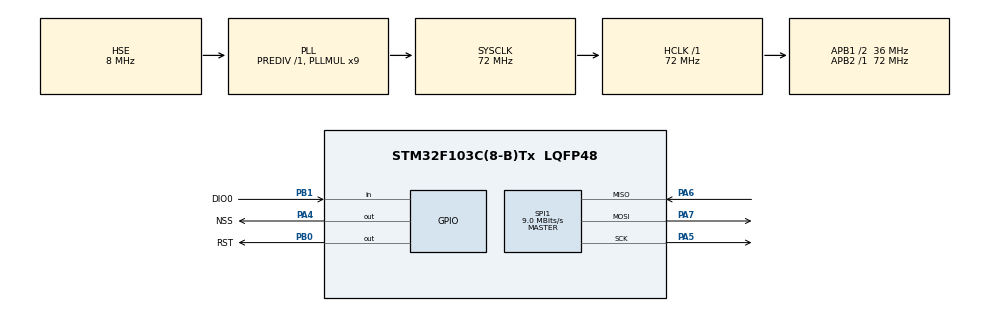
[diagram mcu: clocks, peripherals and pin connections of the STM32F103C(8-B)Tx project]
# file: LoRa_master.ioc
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Mcu.Family=STM32F1
Mcu.Name=STM32F103C(8-B)Tx
Mcu.Package=LQFP48
NVIC.PriorityGroup=NVIC_PRIORITYGROUP_4
PA13.Mode=Serial_Wire
PA13.Signal=SYS_JTMS-SWDIO
PA14.Mode=Serial_Wire
PA14.Signal=SYS_JTCK-SWCLK
PA4.GPIO_Label=NSS
PA4.Signal=GPIO_Output
PA5.Mode=Full_Duplex_Master
PA5.Signal=SPI1_SCK
PA6.Mode=Full_Duplex_Master
PA6.Signal=SPI1_MISO
PA7.Mode=Full_Duplex_Master
PA7.Signal=SPI1_MOSI
PB0.GPIO_Label=RST
PB0.Signal=GPIO_Output
PB1.GPIO_Label=DIO0
PB1.Signal=GPIO_Input
PD0-OSC_IN.Mode=HSE-External-Oscillator
PD0-OSC_IN.Signal=RCC_OSC_IN
PD1-OSC_OUT.Mode=HSE-External-Oscillator
PD1-OSC_OUT.Signal=RCC_OSC_OUT
ProjectManager.HeapSize=0x200
ProjectManager.StackSize=0x400
ProjectManager.TargetToolchain=STM32CubeIDE
RCC.AHBFreq_Value=72000000
RCC.APB1CLKDivider=RCC_HCLK_DIV2
RCC.APB1Freq_Value=36000000
RCC.APB1TimFreq_Value=72000000
RCC.APB2Freq_Value=72000000
RCC.APB2TimFreq_Value=72000000
RCC.HCLKFreq_Value=72000000
RCC.PLLMUL=RCC_PLL_MUL9
RCC.PLLSourceVirtual=RCC_PLLSOURCE_HSE
RCC.SYSCLKFreq_VALUE=72000000
RCC.SYSCLKSource=RCC_SYSCLKSOURCE_PLLCLK
RCC.USBFreq_Value=72000000
SPI1.BaudRatePrescaler=SPI_BAUDRATEPRESCALER_8
SPI1.CalculateBaudRate=9.0 MBits/s
SPI1.Direction=SPI_DIRECTION_2LINES
SPI1.Mode=SPI_MODE_MASTER
SPI1.VirtualType=VM_MASTER
board=custom

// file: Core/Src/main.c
/* USER CODE BEGIN Header */
/**
  ******************************************************************************
  * @file           : main.c
  * @brief          : Main program body
  ******************************************************************************
  * @attention
  *
  * Copyright (c) 2024 STMicroelectronics.
  * All rights reserved.
  *
  * This software is licensed under terms that can be found in the LICENSE file
  * in the root directory of this software component.
  * If no LICENSE file comes with this software, it is provided AS-IS.
  *
  ******************************************************************************
  */
/* USER CODE END Header */
#include "main.h"
#include "spi.h"
#include "gpio.h"

/* USER CODE BEGIN Includes */
#include <stdio.h>
#include "SX1278.h"
/* USER CODE END Includes */

/* USER CODE BEGIN PTD */
SX1278_hw_t SX1278_hw;
SX1278_t SX1278;

int status;

int master;
int ret;

char buffer[512];

int message;
int message_length;
/* USER CODE END PTD */

void SystemClock_Config(void);

int main(void)
{

  /* MCU Configuration--------------------------------------------------------*/

  /* Reset of all peripherals, Initializes the Flash interface and the Systick. */
  HAL_Init();

  /* Configure the system clock */
  SystemClock_Config();

  /* Initialize all configured peripherals */
  MX_GPIO_Init();
  MX_SPI1_Init();
  /* USER CODE BEGIN 2 */
  master = 1; // for master
//  master = 0; // for slave
  	if (master == 1) {
  		printf("Mode: Master\r\n");

  	} else {
  		printf("Mode: Slave\r\n");

  	}
  	status = 1;

  	//initialize LoRa module
  	SX1278_hw.dio0.port = DIO0_GPIO_Port;
  	SX1278_hw.dio0.pin = DIO0_Pin;
  	SX1278_hw.nss.port = NSS_GPIO_Port;
  	SX1278_hw.nss.pin = NSS_Pin;
  	SX1278_hw.reset.port = RST_GPIO_Port;
  	SX1278_hw.reset.pin = RST_Pin;
  	SX1278_hw.spi = &hspi1;

  	SX1278.hw = &SX1278_hw;

  	printf("Configuring LoRa module\r\n");
  	SX1278_init(&SX1278, 434000000, SX1278_POWER_17DBM, SX1278_LORA_SF_7,
  	SX1278_LORA_BW_125KHZ, SX1278_LORA_CR_4_5, SX1278_LORA_CRC_EN, 10);
  	printf("Done configuring LoRaModule\r\n");

  	status++;

  	if (master == 1) {
  		ret = SX1278_LoRaEntryTx(&SX1278, 16, 2000);

  	} else {
  		ret = SX1278_LoRaEntryRx(&SX1278, 16, 2000);

  	}
  	status++;
  /* USER CODE END 2 */

  /* Infinite loop */
  /* USER CODE BEGIN WHILE */
  	while (1) {
  			if (master == 1) {
  				printf("Master ...\r\n");
  				HAL_Delay(1000);
  				printf("Sending package...\r\n");

  				message_length = sprintf(buffer, "Hello %d", message);
  				ret = SX1278_LoRaEntryTx(&SX1278, message_length, 2000);
  				printf("Entry: %d\r\n", ret);
  				status = 4;
  				printf("Sending %s\r\n", buffer);
  				ret = SX1278_LoRaTxPacket(&SX1278, (uint8_t*) buffer,
  						message_length, 2000);
  				message += 1;
  				status = 5;
  				printf("Transmission: %d\r\n", ret);
  				printf("Package sent...\r\n");

  			} else {
  				printf("Slave ...\r\n");
  				HAL_Delay(800);
  				printf("Receiving package...\r\n");

  				ret = SX1278_LoRaRxPacket(&SX1278);
  				printf("Received: %d\r\n", ret);
  				status = 4;
  				if (ret > 0) {
  					SX1278_read(&SX1278, (uint8_t*) buffer, ret);
  					printf("Content (%d): %s\r\n", ret, buffer);
  				}
  				printf("Package received ...\r\n");
  				status = 5;

  			}

    /* USER CODE END WHILE */

  }
}

void SystemClock_Config(void)
{
  RCC_OscInitTypeDef RCC_OscInitStruct = {0};
  RCC_ClkInitTypeDef RCC_ClkInitStruct = {0};

  /** Initializes the RCC Oscillators according to the specified parameters
  * in the RCC_OscInitTypeDef structure.
  */
  RCC_OscInitStruct.OscillatorType = RCC_OSCILLATORTYPE_HSE;
  RCC_OscInitStruct.HSEState = RCC_HSE_ON;
  RCC_OscInitStruct.HSEPredivValue = RCC_HSE_PREDIV_DIV1;
  RCC_OscInitStruct.HSIState = RCC_HSI_ON;
  RCC_OscInitStruct.PLL.PLLState = RCC_PLL_ON;
  RCC_OscInitStruct.PLL.PLLSource = RCC_PLLSOURCE_HSE;
  RCC_OscInitStruct.PLL.PLLMUL = RCC_PLL_MUL9;
  if (HAL_RCC_OscConfig(&RCC_OscInitStruct) != HAL_OK)
  {
    Error_Handler();
  }

  /** Initializes the CPU, AHB and APB buses clocks
  */
  RCC_ClkInitStruct.ClockType = RCC_CLOCKTYPE_HCLK|RCC_CLOCKTYPE_SYSCLK
                              |RCC_CLOCKTYPE_PCLK1|RCC_CLOCKTYPE_PCLK2;
  RCC_ClkInitStruct.SYSCLKSource = RCC_SYSCLKSOURCE_PLLCLK;
  RCC_ClkInitStruct.AHBCLKDivider = RCC_SYSCLK_DIV1;
  RCC_ClkInitStruct.APB1CLKDivider = RCC_HCLK_DIV2;
  RCC_ClkInitStruct.APB2CLKDivider = RCC_HCLK_DIV1;

  if (HAL_RCC_ClockConfig(&RCC_ClkInitStruct, FLASH_LATENCY_2) != HAL_OK)
  {
    Error_Handler();
  }
}

void Error_Handler(void)
{
  __disable_irq();
  while (1)
  {
  }
}
